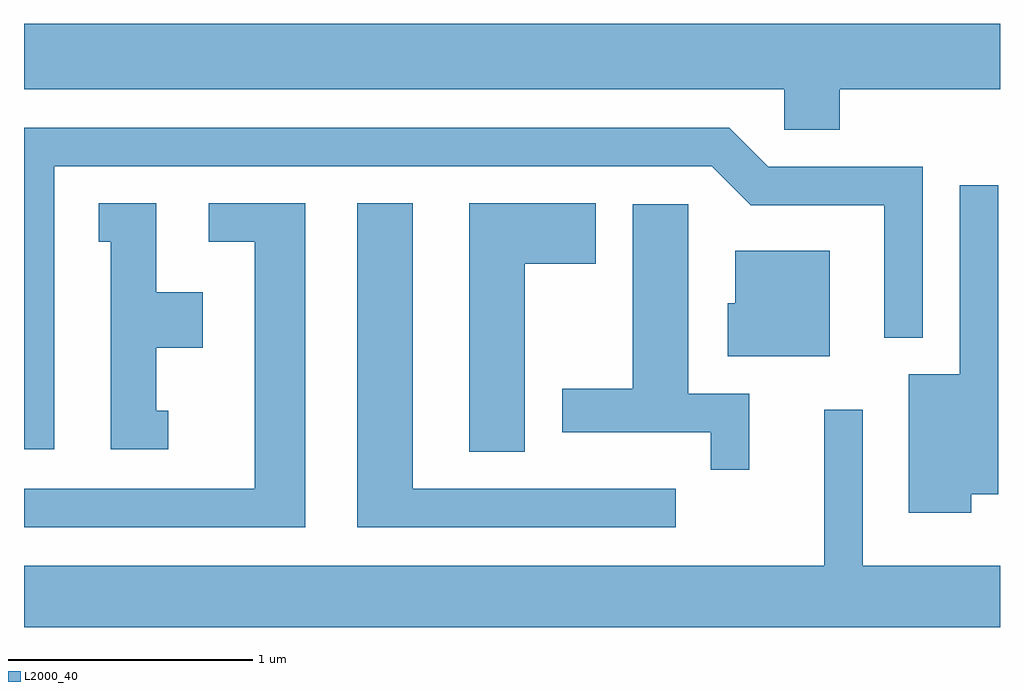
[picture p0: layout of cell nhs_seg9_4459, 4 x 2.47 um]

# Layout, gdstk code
import gdstk
lib = gdstk.Library(unit=1e-6, precision=1e-09)
def P(c, l, *ps):  # polygons
    for p in ps: c.add(gdstk.Polygon(p, *l))
L2000_40 = (2000, 40)

nhs_seg9_4459 = lib.new_cell('nhs_seg9_4459')
P(nhs_seg9_4459, L2000_40, [(318.954,2060.636),(319.611,2060.636),(319.611,2060.904),(315.611,2060.904),(315.611,2060.636),(318.726,2060.636),(318.726,2060.471),(318.954,2060.471)],
  [(315.734,2060.321),(318.429,2060.321),(318.589,2060.161),(319.136,2060.161),(319.136,2059.617),(319.294,2059.617),(319.294,2060.319),(318.662,2060.319),(318.502,2060.479),(315.611,2060.479),(315.611,2059.161),(315.734,2059.161)],
  [(319.494,2058.976),(319.604,2058.976),(319.604,2060.242),(319.446,2060.242),(319.446,2059.469),(319.236,2059.469),(319.236,2058.901),(319.494,2058.901)],
  [(317.664,2059.921),(317.954,2059.921),(317.954,2060.169),(317.436,2060.169),(317.436,2059.151),(317.664,2059.151)],
  [(318.283,2058.999),(317.204,2058.999),(317.204,2060.169),(316.976,2060.169),(316.976,2058.841),(318.283,2058.841)],
  [(316.764,2060.169),(316.368,2060.169),(316.368,2060.011),(316.556,2060.011),(316.556,2058.999),(315.611,2058.999),(315.611,2058.841),(316.764,2058.841)],
  [(316.203,2059.319),(316.154,2059.319),(316.154,2059.576),(316.344,2059.576),(316.344,2059.804),(316.154,2059.804),(316.154,2060.169),(315.918,2060.169),(315.918,2060.011),(315.966,2060.011),(315.966,2059.161),(316.203,2059.161)],
  [(318.584,2059.389),(318.334,2059.389),(318.334,2060.164),(318.106,2060.164),(318.106,2059.409),(317.816,2059.409),(317.816,2059.231),(318.426,2059.231),(318.426,2059.077),(318.584,2059.077)],
  [(318.914,2059.974),(318.526,2059.974),(318.526,2059.759),(318.496,2059.759),(318.496,2059.541),(318.914,2059.541)],
  [(319.611,2058.684),(319.049,2058.684),(319.049,2059.323),(318.891,2059.323),(318.891,2058.684),(315.611,2058.684),(315.611,2058.432),(319.611,2058.432)])

lib.write_gds('nhs_seg9_4459.gds')
